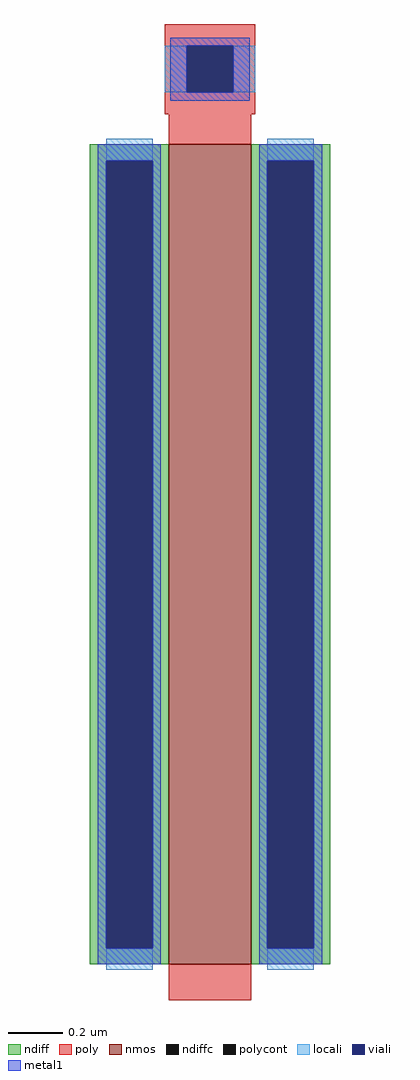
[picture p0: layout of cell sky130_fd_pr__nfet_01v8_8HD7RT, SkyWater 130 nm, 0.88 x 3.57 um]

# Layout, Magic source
magic
tech sky130A
magscale 1 2
<< nmos >>
rect -30 -331 30 269
<< ndiff >>
rect -88 257 -30 269
rect -88 -319 -76 257
rect -42 -319 -30 257
rect -88 -331 -30 -319
rect 30 257 88 269
rect 30 -319 42 257
rect 76 -319 88 257
rect 30 -331 88 -319
<< ndiffc >>
rect -76 -319 -42 257
rect 42 -319 76 257
<< poly >>
rect -33 341 33 357
rect -33 307 -17 341
rect 17 307 33 341
rect -33 291 33 307
rect -30 269 30 291
rect -30 -357 30 -331
<< polycont >>
rect -17 307 17 341
<< locali >>
rect -33 307 -17 341
rect 17 307 33 341
rect -76 257 -42 273
rect -76 -335 -42 -319
rect 42 257 76 273
rect 42 -335 76 -319
<< viali >>
rect -17 307 17 341
rect -76 -319 -42 257
rect 42 -319 76 257
<< metal1 >>
rect -29 341 29 347
rect -29 307 -17 341
rect 17 307 29 341
rect -29 301 29 307
rect -82 257 -36 269
rect -82 -319 -76 257
rect -42 -319 -36 257
rect -82 -331 -36 -319
rect 36 257 82 269
rect 36 -319 42 257
rect 76 -319 82 257
rect 36 -331 82 -319
<< properties >>
string gencell sky130_fd_pr__nfet_01v8
string library sky130
string parameters w 3 l 0.3 m 1 nf 1 diffcov 100 polycov 100 guard 0 glc 1 grc 1 gtc 1 gbc 1 tbcov 100 rlcov 100 topc 1 botc 0 poverlap 0 doverlap 1 lmin 0.15 wmin 0.42 compatible {sky130_fd_pr__nfet_01v8 sky130_fd_pr__nfet_01v8_lvt  sky130_fd_bs_flash__special_sonosfet_star  sky130_fd_pr__nfet_g5v0d10v5 sky130_fd_pr__nfet_05v0_nvt  sky130_fd_pr__nfet_03v3_nvt} full_metal 1 viasrc 100 viadrn 100 viagate 100 viagb 0 viagr 0 viagl 0 viagt 0
<< end >>
